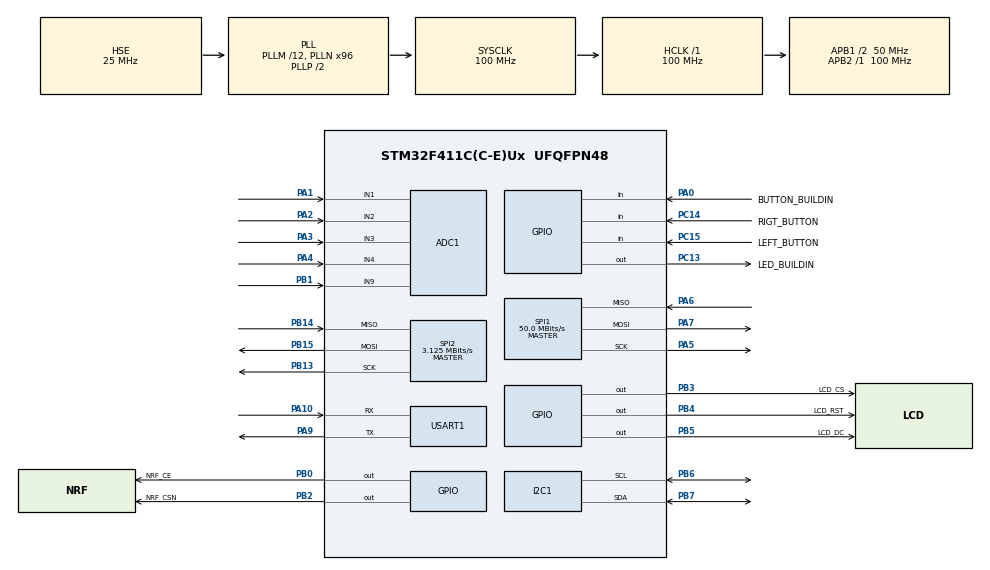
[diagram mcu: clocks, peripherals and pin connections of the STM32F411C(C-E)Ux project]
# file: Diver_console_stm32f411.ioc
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ADC1.Channel-0\#ChannelRegularConversion=ADC_CHANNEL_1
ADC1.Channel-1\#ChannelRegularConversion=ADC_CHANNEL_2
ADC1.Channel-2\#ChannelRegularConversion=ADC_CHANNEL_3
ADC1.Channel-4\#ChannelRegularConversion=ADC_CHANNEL_4
ADC1.Channel-5\#ChannelRegularConversion=ADC_CHANNEL_9
ADC1.NbrOfConversion=5
ADC1.NbrOfConversionFlag=1
ADC1.Rank-0\#ChannelRegularConversion=1
ADC1.Rank-1\#ChannelRegularConversion=2
ADC1.Rank-2\#ChannelRegularConversion=3
ADC1.Rank-4\#ChannelRegularConversion=4
ADC1.Rank-5\#ChannelRegularConversion=5
ADC1.SamplingTime-0\#ChannelRegularConversion=ADC_SAMPLETIME_15CYCLES
ADC1.SamplingTime-1\#ChannelRegularConversion=ADC_SAMPLETIME_15CYCLES
ADC1.SamplingTime-2\#ChannelRegularConversion=ADC_SAMPLETIME_15CYCLES
ADC1.SamplingTime-4\#ChannelRegularConversion=ADC_SAMPLETIME_15CYCLES
ADC1.SamplingTime-5\#ChannelRegularConversion=ADC_SAMPLETIME_15CYCLES
ADC1.master=1
Dma.ADC1.0.Direction=DMA_PERIPH_TO_MEMORY
Dma.ADC1.0.FIFOMode=DMA_FIFOMODE_DISABLE
Dma.ADC1.0.Instance=DMA2_Stream0
Dma.ADC1.0.MemDataAlignment=DMA_MDATAALIGN_HALFWORD
Dma.ADC1.0.MemInc=DMA_MINC_ENABLE
Dma.ADC1.0.Mode=DMA_NORMAL
Dma.ADC1.0.PeriphDataAlignment=DMA_PDATAALIGN_HALFWORD
Dma.ADC1.0.PeriphInc=DMA_PINC_DISABLE
Dma.ADC1.0.Priority=DMA_PRIORITY_LOW
Dma.Request0=ADC1
FREERTOS.Queues01=ackMessage,32,8,1,Dynamic,NULL,NULL
FREERTOS.Tasks01=main,24,1024,mainTask,Default,NULL,Dynamic,NULL,NULL;joystick,24,512,joystickTask,Default,NULL,Dynamic,NULL,NULL;radio,24,2848,radioTask,Default,NULL,Dynamic,NULL,NULL;display,24,2048,displayTask,Default,NULL,Dynamic,NULL,NULL
FREERTOS.configTOTAL_HEAP_SIZE=30000
Mcu.Family=STM32F4
Mcu.Name=STM32F411C(C-E)Ux
Mcu.Package=UFQFPN48
NVIC.ADC_IRQn=true\:5\:0\:false\:false\:true\:true\:true\:true\:true
NVIC.DMA2_Stream0_IRQn=true\:5\:0\:false\:false\:true\:true\:false\:true\:true
NVIC.PriorityGroup=NVIC_PRIORITYGROUP_4
NVIC.SPI1_IRQn=true\:5\:0\:false\:false\:true\:true\:true\:true\:true
NVIC.SPI2_IRQn=true\:5\:0\:false\:false\:true\:true\:true\:true\:true
NVIC.TIM1_UP_TIM10_IRQn=true\:0\:0\:false\:false\:true\:false\:false\:true\:true
NVIC.TimeBase=TIM1_UP_TIM10_IRQn
NVIC.TimeBaseIP=TIM1
PA0-WKUP.GPIO_Label=BUTTON_BUILDIN
PA0-WKUP.GPIO_PuPd=GPIO_PULLUP
PA0-WKUP.Signal=GPIO_Input
PA1.Signal=ADCx_IN1
PA10.Mode=Asynchronous
PA10.Signal=USART1_RX
PA13.Mode=Serial_Wire
PA13.Signal=SYS_JTMS-SWDIO
PA14.Mode=Serial_Wire
PA14.Signal=SYS_JTCK-SWCLK
PA2.Signal=ADCx_IN2
PA3.Signal=ADCx_IN3
PA4.Signal=ADCx_IN4
PA5.Mode=Full_Duplex_Master
PA5.Signal=SPI1_SCK
PA6.Mode=Full_Duplex_Master
PA6.Signal=SPI1_MISO
PA7.Mode=Full_Duplex_Master
PA7.Signal=SPI1_MOSI
PA9.Mode=Asynchronous
PA9.Signal=USART1_TX
PB0.GPIO_Label=NRF_CE
PB0.Signal=GPIO_Output
PB1.Signal=ADCx_IN9
PB13.Mode=Full_Duplex_Master
PB13.Signal=SPI2_SCK
PB14.Mode=Full_Duplex_Master
PB14.Signal=SPI2_MISO
PB15.Mode=Full_Duplex_Master
PB15.Signal=SPI2_MOSI
PB2.GPIO_Label=NRF_CSN
PB2.Signal=GPIO_Output
PB3.GPIO_Label=LCD_CS
PB3.Signal=GPIO_Output
PB4.GPIO_Label=LCD_RST
PB4.Signal=GPIO_Output
PB5.GPIO_Label=LCD_DC
PB5.Signal=GPIO_Output
PB6.Mode=I2C
PB6.Signal=I2C1_SCL
PB7.Mode=I2C
PB7.Signal=I2C1_SDA
PC13-ANTI_TAMP.GPIO_Label=LED_BUILDIN
PC13-ANTI_TAMP.Signal=GPIO_Output
PC14-OSC32_IN.GPIO_Label=RIGT_BUTTON
PC14-OSC32_IN.GPIO_PuPd=GPIO_PULLUP
PC14-OSC32_IN.Signal=GPIO_Input
PC15-OSC32_OUT.GPIO_Label=LEFT_BUTTON
PC15-OSC32_OUT.GPIO_PuPd=GPIO_PULLUP
PC15-OSC32_OUT.Signal=GPIO_Input
PH0\ -\ OSC_IN.Mode=HSE-External-Oscillator
PH0\ -\ OSC_IN.Signal=RCC_OSC_IN
PH1\ -\ OSC_OUT.Mode=HSE-External-Oscillator
PH1\ -\ OSC_OUT.Signal=RCC_OSC_OUT
ProjectManager.HeapSize=0x200
ProjectManager.StackSize=0x400
ProjectManager.TargetToolchain=STM32CubeIDE
RCC.48MHZClocksFreq_Value=50000000
RCC.AHBFreq_Value=100000000
RCC.APB1CLKDivider=RCC_HCLK_DIV2
RCC.APB1Freq_Value=50000000
RCC.APB1TimFreq_Value=100000000
RCC.APB2Freq_Value=100000000
RCC.APB2TimFreq_Value=100000000
RCC.CortexFreq_Value=100000000
RCC.HCLKFreq_Value=100000000
RCC.HSE_VALUE=25000000
RCC.HSI_VALUE=16000000
RCC.LSE_VALUE=32768
RCC.PLLM=12
RCC.PLLN=96
RCC.PLLSourceVirtual=RCC_PLLSOURCE_HSE
RCC.SYSCLKFreq_VALUE=100000000
RCC.SYSCLKSource=RCC_SYSCLKSOURCE_PLLCLK
RCC.VCOOutputFreq_Value=200000000
SH.ADCx_IN1.0=ADC1_IN1,IN1
SH.ADCx_IN2.0=ADC1_IN2,IN2
SH.ADCx_IN3.0=ADC1_IN3,IN3
SH.ADCx_IN4.0=ADC1_IN4,IN4
SH.ADCx_IN9.0=ADC1_IN9,IN9
SPI1.BaudRatePrescaler=SPI_BAUDRATEPRESCALER_2
SPI1.CalculateBaudRate=50.0 MBits/s
SPI1.Direction=SPI_DIRECTION_2LINES
SPI1.Mode=SPI_MODE_MASTER
SPI1.VirtualType=VM_MASTER
SPI2.BaudRatePrescaler=SPI_BAUDRATEPRESCALER_16
SPI2.CalculateBaudRate=3.125 MBits/s
SPI2.Direction=SPI_DIRECTION_2LINES
SPI2.Mode=SPI_MODE_MASTER
SPI2.VirtualType=VM_MASTER
USART1.VirtualMode=VM_ASYNC
VP_FREERTOS_VS_CMSIS_V2.Mode=CMSIS_V2
VP_SYS_VS_tim1.Mode=TIM1
board=custom

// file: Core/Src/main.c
/* USER CODE BEGIN Header */
/**
  ******************************************************************************
  * @file           : main.c
  * @brief          : Main program body
  ******************************************************************************
  * @attention
  *
  * <h2><center>&copy; Copyright (c) 2022 STMicroelectronics.
  * All rights reserved.</center></h2>
  *
  * This software component is licensed by ST under BSD 3-Clause license,
  * the "License"; You may not use this file except in compliance with the
  * License. You may obtain a copy of the License at:
  *                        opensource.org/licenses/BSD-3-Clause
  *
  ******************************************************************************
  */
/* USER CODE END Header */
#include "main.h"
#include "cmsis_os.h"

/* USER CODE BEGIN Includes */
#include "lv_impl.h"

#include <stdio.h>
#include <stdbool.h>
//#include "nrf24l01.h"
#include "nrf24.h"
#include "ili9341.h"
//#include "oled.h"
//#include "xpt2046.h"
//#include "img.h"
#include "add.h"
#include "radio_type.h"
/* USER CODE END Includes */

/* USER CODE BEGIN PTD */
typedef enum {
	ADC_CHANNEL_RIGHT_Y,
	ADC_CHANNEL_RIGHT_X,
	ADC_CHANNEL_LEFT_X,
	ADC_CHANNEL_LEFT_Y,
	ADC_CHANNEL_BATTERY,
	ADC_CHANNELS_NUM
} adc_channels;
/* USER CODE END PTD */

/* USER CODE BEGIN PD */
/*
#define ADC_CHANNELS_NUM                                         5
#define ADC_CHANNEL_LEFT_X                                       3
#define ADC_CHANNEL_RIGHT_X                                      0
#define ADC_CHANNEL_LEFT_Y                                       2
#define ADC_CHANNEL_RIGHT_Y                                      1
*/

/* USER CODE END PD */

ADC_HandleTypeDef hadc1;
DMA_HandleTypeDef hdma_adc1;

I2C_HandleTypeDef hi2c1;

SPI_HandleTypeDef hspi1;
SPI_HandleTypeDef hspi2;

UART_HandleTypeDef huart1;

/* Definitions for main */
osThreadId_t mainHandle;
const osThreadAttr_t main_attributes = {
  .name = "main",
  .stack_size = 1024 * 4,
  .priority = (osPriority_t) osPriorityNormal,
};
/* Definitions for joystick */
osThreadId_t joystickHandle;
const osThreadAttr_t joystick_attributes = {
  .name = "joystick",
  .stack_size = 512 * 4,
  .priority = (osPriority_t) osPriorityNormal,
};
/* Definitions for radio */
osThreadId_t radioHandle;
const osThreadAttr_t radio_attributes = {
  .name = "radio",
  .stack_size = 2848 * 4,
  .priority = (osPriority_t) osPriorityNormal,
};
/* Definitions for display */
osThreadId_t displayHandle;
const osThreadAttr_t display_attributes = {
  .name = "display",
  .stack_size = 2048 * 4,
  .priority = (osPriority_t) osPriorityNormal,
};
/* Definitions for ackMessage */
osMessageQueueId_t ackMessageHandle;
const osMessageQueueAttr_t ackMessage_attributes = {
  .name = "ackMessage"
};

void SystemClock_Config(void);
static void MX_GPIO_Init(void);
static void MX_DMA_Init(void);
static void MX_ADC1_Init(void);
static void MX_I2C1_Init(void);
static void MX_SPI1_Init(void);
static void MX_USART1_UART_Init(void);
static void MX_SPI2_Init(void);
void mainTask(void *argument);
void joystickTask(void *argument);
void radioTask(void *argument);
void displayTask(void *argument);

/* USER CODE BEGIN 0 */
uint64_t TxpipeAddrs = 0x11223344AA;
//char myTxData[32] = "Hello World!\r\n";
char AckPayload[32];
uint8_t myTxData[]="Hello World!\r\n";
uint8_t welcome[]="Hello from console STM32F411\r\n";
uint32_t global_cnt = 0;

uint16_t adcData[ADC_CHANNELS_NUM];
uint16_t adcVoltagemV[ADC_CHANNELS_NUM];
float adcVoltage[ADC_CHANNELS_NUM];
char lcd_joystick_str[32];

joystick_t joystick;

uint8_t flag_press = 0;

uint32_t counter = 0;
uint8_t test_cnt = 0;
lv_obj_t * arc;

const uint64_t pipe1 = 0xE8E8F0F0E2LL;
const uint64_t pipe5 = 0xE8E8F0F0E7LL;

uint8_t nrf_data[32] = {0};
uint8_t nrf_ack[32] = {0};

uint8_t left_motor;
uint8_t right_motor;

pump_states_t pump_command;

camera_states_t camera_command;

int16_t x_offset;
int16_t y_offset;

//SemaphoreHandle_t common_spi_mutex;
/* USER CODE END 0 */

int main(void)
{

  /* MCU Configuration--------------------------------------------------------*/

  /* Reset of all peripherals, Initializes the Flash interface and the Systick. */
  HAL_Init();

  /* Configure the system clock */
  SystemClock_Config();

  /* Initialize all configured peripherals */
  MX_GPIO_Init();
  MX_DMA_Init();
  MX_ADC1_Init();
  MX_I2C1_Init();
  MX_SPI1_Init();
  MX_USART1_UART_Init();
  MX_SPI2_Init();
  /* USER CODE BEGIN 2 */
  __HAL_SPI_ENABLE(DISP_SPI_PTR);
  HAL_ADC_Start_DMA(&hadc1, (uint32_t*)adcData, ADC_CHANNELS_NUM);
/*
  NRF24_begin(GPIOB, GPIO_PIN_1, GPIO_PIN_0, hspi1);
  nrf24_DebugUART_Init(huart1);

//  ssd1306_Init(&hi2c1);

  NRF24_stopListening();
  NRF24_openWritingPipe(TxpipeAddrs);
  NRF24_setAutoAck(true);
  NRF24_setChannel(52);
  NRF24_setPayloadSize(32);

  NRF24_enableDynamicPayloads();
  NRF24_enableAckPayload();

  printRadioSettings();

  HAL_UART_Transmit_IT(&huart1, &welcome, strlen(welcome));
*/

  	nrf_init(&hspi2, RF24_PA_MAX, RF24_250KBPS, 120, &huart1);

    lv_init();
    lv_disp_init();
    lv_menu();

/*
    ILI9341_Init();

    ILI9341_Set_Rotation(SCREEN_HORIZONTAL_2);

    ILI9341_Fill_Screen(MYFON);

    ILI9341_WriteString(10, 10, "Hello World", Font_7x10, WHITE, MYFON);
//    ILI9341_WriteString(20, 30, "Hello World", Font_11x18, WHITE, MYFON);
//    ILI9341_WriteString(30, 60, "Hello World", Font_16x26, BLUE, DARKGREEN);

    char txt_buf[] = "Hello Lviv";
    ILI9341_WriteString(40, 40, txt_buf, Font_16x26, YELLOW, MYFON);

    uint16_t size_img = sizeof(img_logo);
    ILI9341_Draw_Image(img_logo, 150, 100, 100, 100, size_img);
    ILI9341_WriteString(30, 120, "Odesa mama", Font_11x18, WHITE, MYFON);
*/

  /* USER CODE END 2 */

  /* Init scheduler */
  osKernelInitialize();

  /* Create the queue(s) */
  /* creation of ackMessage */
  ackMessageHandle = osMessageQueueNew (32, 8, &ackMessage_attributes);

  /* Create the thread(s) */
  /* creation of main */
  mainHandle = osThreadNew(mainTask, NULL, &main_attributes);

  /* creation of joystick */
  joystickHandle = osThreadNew(joystickTask, NULL, &joystick_attributes);

  /* creation of radio */
  radioHandle = osThreadNew(radioTask, NULL, &radio_attributes);

  /* creation of display */
  displayHandle = osThreadNew(displayTask, NULL, &display_attributes);

  /* Start scheduler */
  osKernelStart();

  /* We should never get here as control is now taken by the scheduler */
  /* Infinite loop */
  while (1)
  {

  }
}

void SystemClock_Config(void)
{
  RCC_OscInitTypeDef RCC_OscInitStruct = {0};
  RCC_ClkInitTypeDef RCC_ClkInitStruct = {0};

  /** Configure the main internal regulator output voltage
  */
  __HAL_RCC_PWR_CLK_ENABLE();
  __HAL_PWR_VOLTAGESCALING_CONFIG(PWR_REGULATOR_VOLTAGE_SCALE1);
  /** Initializes the RCC Oscillators according to the specified parameters
  * in the RCC_OscInitTypeDef structure.
  */
  RCC_OscInitStruct.OscillatorType = RCC_OSCILLATORTYPE_HSE;
  RCC_OscInitStruct.HSEState = RCC_HSE_ON;
  RCC_OscInitStruct.PLL.PLLState = RCC_PLL_ON;
  RCC_OscInitStruct.PLL.PLLSource = RCC_PLLSOURCE_HSE;
  RCC_OscInitStruct.PLL.PLLM = 12;
  RCC_OscInitStruct.PLL.PLLN = 96;
  RCC_OscInitStruct.PLL.PLLP = RCC_PLLP_DIV2;
  RCC_OscInitStruct.PLL.PLLQ = 4;
  if (HAL_RCC_OscConfig(&RCC_OscInitStruct) != HAL_OK)
  {
    Error_Handler();
  }
  /** Initializes the CPU, AHB and APB buses clocks
  */
  RCC_ClkInitStruct.ClockType = RCC_CLOCKTYPE_HCLK|RCC_CLOCKTYPE_SYSCLK
                              |RCC_CLOCKTYPE_PCLK1|RCC_CLOCKTYPE_PCLK2;
  RCC_ClkInitStruct.SYSCLKSource = RCC_SYSCLKSOURCE_PLLCLK;
  RCC_ClkInitStruct.AHBCLKDivider = RCC_SYSCLK_DIV1;
  RCC_ClkInitStruct.APB1CLKDivider = RCC_HCLK_DIV2;
  RCC_ClkInitStruct.APB2CLKDivider = RCC_HCLK_DIV1;

  if (HAL_RCC_ClockConfig(&RCC_ClkInitStruct, FLASH_LATENCY_3) != HAL_OK)
  {
    Error_Handler();
  }
}

static void MX_ADC1_Init(void)
{

  ADC_ChannelConfTypeDef sConfig = {0};

  /** Configure the global features of the ADC (Clock, Resolution, Data Alignment and number of conversion)
  */
  hadc1.Instance = ADC1;
  hadc1.Init.ClockPrescaler = ADC_CLOCK_SYNC_PCLK_DIV4;
  hadc1.Init.Resolution = ADC_RESOLUTION_12B;
  hadc1.Init.ScanConvMode = ENABLE;
  hadc1.Init.ContinuousConvMode = DISABLE;
  hadc1.Init.DiscontinuousConvMode = DISABLE;
  hadc1.Init.ExternalTrigConvEdge = ADC_EXTERNALTRIGCONVEDGE_NONE;
  hadc1.Init.ExternalTrigConv = ADC_SOFTWARE_START;
  hadc1.Init.DataAlign = ADC_DATAALIGN_RIGHT;
  hadc1.Init.NbrOfConversion = 5;
  hadc1.Init.DMAContinuousRequests = DISABLE;
  hadc1.Init.EOCSelection = ADC_EOC_SINGLE_CONV;
  if (HAL_ADC_Init(&hadc1) != HAL_OK)
  {
    Error_Handler();
  }
  /** Configure for the selected ADC regular channel its corresponding rank in the sequencer and its sample time.
  */
  sConfig.Channel = ADC_CHANNEL_1;
  sConfig.Rank = 1;
  sConfig.SamplingTime = ADC_SAMPLETIME_15CYCLES;
  if (HAL_ADC_ConfigChannel(&hadc1, &sConfig) != HAL_OK)
  {
    Error_Handler();
  }
  /** Configure for the selected ADC regular channel its corresponding rank in the sequencer and its sample time.
  */
  sConfig.Channel = ADC_CHANNEL_2;
  sConfig.Rank = 2;
  if (HAL_ADC_ConfigChannel(&hadc1, &sConfig) != HAL_OK)
  {
    Error_Handler();
  }
  /** Configure for the selected ADC regular channel its corresponding rank in the sequencer and its sample time.
  */
  sConfig.Channel = ADC_CHANNEL_3;
  sConfig.Rank = 3;
  if (HAL_ADC_ConfigChannel(&hadc1, &sConfig) != HAL_OK)
  {
    Error_Handler();
  }
  /** Configure for the selected ADC regular channel its corresponding rank in the sequencer and its sample time.
  */
  sConfig.Channel = ADC_CHANNEL_4;
  sConfig.Rank = 4;
  if (HAL_ADC_ConfigChannel(&hadc1, &sConfig) != HAL_OK)
  {
    Error_Handler();
  }
  /** Configure for the selected ADC regular channel its corresponding rank in the sequencer and its sample time.
  */
  sConfig.Channel = ADC_CHANNEL_9;
  sConfig.Rank = 5;
  if (HAL_ADC_ConfigChannel(&hadc1, &sConfig) != HAL_OK)
  {
    Error_Handler();
  }

}

static void MX_I2C1_Init(void)
{

  hi2c1.Instance = I2C1;
  hi2c1.Init.ClockSpeed = 100000;
  hi2c1.Init.DutyCycle = I2C_DUTYCYCLE_2;
  hi2c1.Init.OwnAddress1 = 0;
  hi2c1.Init.AddressingMode = I2C_ADDRESSINGMODE_7BIT;
  hi2c1.Init.DualAddressMode = I2C_DUALADDRESS_DISABLE;
  hi2c1.Init.OwnAddress2 = 0;
  hi2c1.Init.GeneralCallMode = I2C_GENERALCALL_DISABLE;
  hi2c1.Init.NoStretchMode = I2C_NOSTRETCH_DISABLE;
  if (HAL_I2C_Init(&hi2c1) != HAL_OK)
  {
    Error_Handler();
  }

}

static void MX_SPI1_Init(void)
{

  /* SPI1 parameter configuration*/
  hspi1.Instance = SPI1;
  hspi1.Init.Mode = SPI_MODE_MASTER;
  hspi1.Init.Direction = SPI_DIRECTION_2LINES;
  hspi1.Init.DataSize = SPI_DATASIZE_8BIT;
  hspi1.Init.CLKPolarity = SPI_POLARITY_LOW;
  hspi1.Init.CLKPhase = SPI_PHASE_1EDGE;
  hspi1.Init.NSS = SPI_NSS_SOFT;
  hspi1.Init.BaudRatePrescaler = SPI_BAUDRATEPRESCALER_2;
  hspi1.Init.FirstBit = SPI_FIRSTBIT_MSB;
  hspi1.Init.TIMode = SPI_TIMODE_DISABLE;
  hspi1.Init.CRCCalculation = SPI_CRCCALCULATION_DISABLE;
  hspi1.Init.CRCPolynomial = 10;
  if (HAL_SPI_Init(&hspi1) != HAL_OK)
  {
    Error_Handler();
  }

}

static void MX_SPI2_Init(void)
{

  /* SPI2 parameter configuration*/
  hspi2.Instance = SPI2;
  hspi2.Init.Mode = SPI_MODE_MASTER;
  hspi2.Init.Direction = SPI_DIRECTION_2LINES;
  hspi2.Init.DataSize = SPI_DATASIZE_8BIT;
  hspi2.Init.CLKPolarity = SPI_POLARITY_LOW;
  hspi2.Init.CLKPhase = SPI_PHASE_1EDGE;
  hspi2.Init.NSS = SPI_NSS_SOFT;
  hspi2.Init.BaudRatePrescaler = SPI_BAUDRATEPRESCALER_16;
  hspi2.Init.FirstBit = SPI_FIRSTBIT_MSB;
  hspi2.Init.TIMode = SPI_TIMODE_DISABLE;
  hspi2.Init.CRCCalculation = SPI_CRCCALCULATION_DISABLE;
  hspi2.Init.CRCPolynomial = 10;
  if (HAL_SPI_Init(&hspi2) != HAL_OK)
  {
    Error_Handler();
  }

}

static void MX_USART1_UART_Init(void)
{

  huart1.Instance = USART1;
  huart1.Init.BaudRate = 115200;
  huart1.Init.WordLength = UART_WORDLENGTH_8B;
  huart1.Init.StopBits = UART_STOPBITS_1;
  huart1.Init.Parity = UART_PARITY_NONE;
  huart1.Init.Mode = UART_MODE_TX_RX;
  huart1.Init.HwFlowCtl = UART_HWCONTROL_NONE;
  huart1.Init.OverSampling = UART_OVERSAMPLING_16;
  if (HAL_UART_Init(&huart1) != HAL_OK)
  {
    Error_Handler();
  }

}

static void MX_DMA_Init(void)
{

  /* DMA controller clock enable */
  __HAL_RCC_DMA2_CLK_ENABLE();

  /* DMA interrupt init */
  /* DMA2_Stream0_IRQn interrupt configuration */
  HAL_NVIC_SetPriority(DMA2_Stream0_IRQn, 5, 0);
  HAL_NVIC_EnableIRQ(DMA2_Stream0_IRQn);

}

static void MX_GPIO_Init(void)
{
  GPIO_InitTypeDef GPIO_InitStruct = {0};

  /* GPIO Ports Clock Enable */
  __HAL_RCC_GPIOC_CLK_ENABLE();
  __HAL_RCC_GPIOH_CLK_ENABLE();
  __HAL_RCC_GPIOA_CLK_ENABLE();
  __HAL_RCC_GPIOB_CLK_ENABLE();

  /*Configure GPIO pin Output Level */
  HAL_GPIO_WritePin(LED_BUILDIN_GPIO_Port, LED_BUILDIN_Pin, GPIO_PIN_RESET);

  /*Configure GPIO pin Output Level */
  HAL_GPIO_WritePin(GPIOB, NRF_CE_Pin|NRF_CSN_Pin|LCD_CS_Pin|LCD_RST_Pin
                          |LCD_DC_Pin, GPIO_PIN_RESET);

  /*Configure GPIO pin : LED_BUILDIN_Pin */
  GPIO_InitStruct.Pin = LED_BUILDIN_Pin;
  GPIO_InitStruct.Mode = GPIO_MODE_OUTPUT_PP;
  GPIO_InitStruct.Pull = GPIO_NOPULL;
  GPIO_InitStruct.Speed = GPIO_SPEED_FREQ_LOW;
  HAL_GPIO_Init(LED_BUILDIN_GPIO_Port, &GPIO_InitStruct);

  /*Configure GPIO pins : RIGT_BUTTON_Pin LEFT_BUTTON_Pin */
  GPIO_InitStruct.Pin = RIGT_BUTTON_Pin|LEFT_BUTTON_Pin;
  GPIO_InitStruct.Mode = GPIO_MODE_INPUT;
  GPIO_InitStruct.Pull = GPIO_PULLUP;
  HAL_GPIO_Init(GPIOC, &GPIO_InitStruct);

  /*Configure GPIO pin : BUTTON_BUILDIN_Pin */
  GPIO_InitStruct.Pin = BUTTON_BUILDIN_Pin;
  GPIO_InitStruct.Mode = GPIO_MODE_INPUT;
  GPIO_InitStruct.Pull = GPIO_PULLUP;
  HAL_GPIO_Init(BUTTON_BUILDIN_GPIO_Port, &GPIO_InitStruct);

  /*Configure GPIO pins : NRF_CE_Pin NRF_CSN_Pin LCD_CS_Pin LCD_RST_Pin
                           LCD_DC_Pin */
  GPIO_InitStruct.Pin = NRF_CE_Pin|NRF_CSN_Pin|LCD_CS_Pin|LCD_RST_Pin
                          |LCD_DC_Pin;
  GPIO_InitStruct.Mode = GPIO_MODE_OUTPUT_PP;
  GPIO_InitStruct.Pull = GPIO_NOPULL;
  GPIO_InitStruct.Speed = GPIO_SPEED_FREQ_LOW;
  HAL_GPIO_Init(GPIOB, &GPIO_InitStruct);

}

/* USER CODE BEGIN 4 */
void HAL_ADC_ConvCpltCallback(ADC_HandleTypeDef* hadc)
{
  if(hadc->Instance == ADC1)
  {
/*
    adcVoltage[0] = adcData[1] * 3.3 / 4095;
    adcVoltage[1] = adcData[2] * 3.3 / 4095;
    adcVoltage[2] = adcData[3] * 3.3 / 4095;
    adcVoltage[3] = adcData[4] * 3.3 / 4095;
    adcVoltage[4] = adcData[9] * 3.3 / 4095;
    */
//    adcVoltagemV[0] = adcData[1] * 3300 / 4095;
//    adcVoltagemV[1] = adcData[2] * 3300 / 4095;
//    adcVoltagemV[2] = adcData[3] * 3300 / 4095;
//    adcVoltagemV[3] = adcData[4] * 3300 / 4095;
    adcVoltagemV[4] = adcData[4] * 3300 / 4095 * 25 / 15;

    HAL_ADC_Stop_DMA(&hadc1);
  }

}

/* USER CODE END 4 */

void mainTask(void *argument)
{
  /* USER CODE BEGIN 5 */
  /* Infinite loop */
  for(;;)
  {
	lv_timer_handler();
    osDelay(1);
  }
  /* USER CODE END 5 */
}

void joystickTask(void *argument)
{
  /* USER CODE BEGIN joystickTask */
	uint16_t forward;
	uint16_t left_slowdown;
	uint16_t right_slowdown;
	static bool turn_flag = false;
  /* Infinite loop */
  for(;;)
  {
	HAL_ADC_Start_DMA(&hadc1, (uint32_t*)adcData, ADC_CHANNELS_NUM);

	joystick.leftX = adcData[ADC_CHANNEL_LEFT_X];
	joystick.leftY = adcData[ADC_CHANNEL_LEFT_Y];
	joystick.rightX = adcData[ADC_CHANNEL_RIGHT_X];
	joystick.rightY = adcData[ADC_CHANNEL_RIGHT_Y];

	forward = map(joystick.leftY, 2100, 4095, 0, 255);

	if (joystick.leftX < 1990){
	  left_slowdown = map(joystick.leftX, 1990, 0, 255, 0);
	} else if (joystick.leftX > 2105){
	  right_slowdown = map(joystick.leftX, 2105, 4095, 0, 255);
	} else {
	  right_slowdown = 0;
	  left_slowdown = 0;
	}

	if (forward > left_slowdown / 4){
	  left_motor = forward - left_slowdown / 4;
	} else if (forward == 0) {
      right_motor = left_slowdown / 4;
	} else {
	  left_motor = forward;
	}

	if (forward > right_slowdown / 4){
	  right_motor = forward - right_slowdown / 4;
	} else if (forward == 0) {
	  left_motor = right_slowdown / 4;
	} else {
	  right_motor = forward;
	}

	nrf_data[LEFT_MOTOR] = left_motor;
	nrf_data[RIGHT_MOTOR] = right_motor;

	if (adcData[ADC_CHANNEL_RIGHT_X] > 2500){
		pump_command = PUMP_PUSH;
	} else if (adcData[ADC_CHANNEL_RIGHT_X] < 1500){
		pump_command = PUMP_PULL;
	} else {
		pump_command = PUMP_OFF;
	}

	if (HAL_GPIO_ReadPin(RIGT_BUTTON_GPIO_Port, RIGT_BUTTON_Pin) == GPIO_PIN_RESET){
		if (turn_flag == false){
			if (camera_command == CAMERA_ON){
				camera_command = CAMERA_OFF;
			} else {
				camera_command = CAMERA_ON;
			}
			turn_flag = true;
		}
	} else {
		if (turn_flag == true){
			turn_flag = false;
		}
	}

	if (HAL_GPIO_ReadPin(LEFT_BUTTON_GPIO_Port, LEFT_BUTTON_Pin) == GPIO_PIN_RESET){

	}

/*
	if (HAL_GPIO_ReadPin(GPIOA, GPIO_PIN_0) == GPIO_PIN_RESET) {
		 HAL_GPIO_WritePin(GPIOC, GPIO_PIN_13, GPIO_PIN_RESET);
		 sprintf(myTxData, "Pressed %d\r\n", counter);
	} else {
		HAL_GPIO_WritePin(GPIOC, GPIO_PIN_13, GPIO_PIN_SET);
		sprintf(myTxData, "Hello world %d\r\n", counter);
	}
*/
	osDelay(50);
  }
  /* USER CODE END joystickTask */
}

void radioTask(void *argument)
{
  /* USER CODE BEGIN radioTask */
	char str[64];
	uint8_t a = 1;

  /* Infinite loop */
  for(;;)
  {
	  //clear array
	  for (uint8_t i = 0; i < 32; i++){
		  nrf_data[i] = 0;
	  }

	  nrf_data[TEST_BYTE] = 0x55;

	  nrf_data[LEFT_MOTOR] = left_motor;
	  nrf_data[RIGHT_MOTOR] = right_motor;
	  nrf_data[DEPHT_OFFSET] = pump_command;
	  nrf_data[CAMERA_COMMAND] = camera_command;
	  nrf_data[LEFT_BUT] = 0;

	  nrf_openWritingPipe(pipe1);

	  if(nrf_write(&nrf_data, 32/*strlen((const char*)nrf_data)*/))
	 {
		if(nrf_isAckPayloadAvailable())
		{
			nrf_read(&nrf_ack, 32);

			HAL_GPIO_TogglePin(GPIOC, GPIO_PIN_13);
			snprintf(str, 64, "Ack: %d\n", nrf_ack);

			HAL_UART_Transmit(&huart1, (uint8_t*)str, strlen(str), 1000);

			//osMessageQueuePut(ackMessageHandle, &nrf_ack, 0, 200);
		}
	  }
	  else HAL_UART_Transmit(&huart1, (uint8_t*)"Not write 1\n", strlen("Not write 1\n"), 1000);
/*
	  nrf_openWritingPipe(pipe5);

	  for (uint8_t i = 0; i<32; i++){
		 nrf_data[i] = i+a;
		 a+=4;
		 if (a > 1000) a = 1;
	  }

	  if(nrf_write(&nrf_data, strlen((const char*)nrf_data)))
	  {
		if(nrf_isAckPayloadAvailable())
		{
			nrf_read(&nrf_ack, sizeof(nrf_ack));
			HAL_GPIO_TogglePin(GPIOC, GPIO_PIN_13);
			snprintf(str, 64, "Ack: %u\n", nrf_ack);
			HAL_UART_Transmit(&huart1, (uint8_t*)str, strlen(str), 1000);
		}
	  }
	  else HAL_UART_Transmit(&huart1, (uint8_t*)"Not write 5\n", strlen("Not write 5\n"), 1000);
*/
/*
	if(NRF24_write(myTxData, 32))
	{
	  NRF24_read(AckPayload, 32);
	  HAL_UART_Transmit(&huart1, (uint8_t *)"Transmitted Successfully\r\n", strlen("Transmitted Successfully\r\n"),100);
	  HAL_GPIO_TogglePin(GPIOC, GPIO_PIN_13);
	  char myDataack[80];
	  sprintf(myDataack, "AckPayload:  %s \r\n", AckPayload);
	  HAL_UART_Transmit(&huart1, (uint8_t *)myDataack, strlen(myDataack),100);

	  osMessageQueuePut(ackMessageHandle, &AckPayload, 0, 200);
	}
*/
    osDelay(1000);
  }
  /* USER CODE END radioTask */
}

void displayTask(void *argument)
{
  /* USER CODE BEGIN displayTask */
  uint8_t ackMessage[32] = {0};
//  char test_str[32] = {0};
  char xy_label_str[64] = {0};
  char send_data_label_str[64] = {0};
  char radio_str[64] = {0};
  char battery_str[20] = {0};
  //pressure p;
  uint16_t temp_insade;
  uint16_t battery_voltage;
  uint32_t pressure_inside;
  /* Infinite loop */
  for(;;)
  {
	//osMessageQueueGet(ackMessageHandle, &ackMessage, NULL, 200);

	set_bar(lx_bar, map(joystick.leftX, 0, 4025, 0, 100));
	set_bar(ly_bar, map(joystick.leftY, 0, 4025, 0, 100));
	set_bar(rx_bar, map(left_motor, 0, 255, 0, 100));
	set_bar(ry_bar, map(right_motor, 0, 255, 0, 100));

	sprintf(battery_str, "%dmV", adcVoltagemV[ADC_CHANNEL_BATTERY]);
	lv_label_set_text(battery_label, battery_str);

	sprintf(xy_label_str, "X: %d Y: %d | X: %d Y: %d", joystick.leftX, joystick.leftY, joystick.rightX, joystick.rightY);
	lv_label_set_text(l_xy_label, xy_label_str);

	pressure_inside = (uint32_t)nrf_ack[PRESSURE_INSIDE_0] <<  0 | (uint32_t)nrf_ack[PRESSURE_INSIDE_1] <<  8 | (uint32_t)nrf_ack[PRESSURE_INSIDE_2] << 16 | (uint32_t)nrf_ack[PRESSURE_INSIDE_3] << 24;
	temp_insade = nrf_ack[TEMP_INSIDE_MSB] | nrf_ack[TEMP_INSIDE_LSB] << 8;
	battery_voltage = nrf_ack[BATTERY_VOLTAGE_MSB] | nrf_ack[BATTERY_VOLTAGE_LSB] << 8;
	sprintf(radio_str, "T: %d, P: %d, d: %d mm, %d mV", temp_insade, pressure_inside, nrf_ack[PISTON_OFFSET], battery_voltage);
	lv_label_set_text(radio_label, radio_str);

	sprintf(send_data_label_str, "LM: %d, RM: %d, PC: %d CC: %d", left_motor, right_motor, pump_command, camera_command);
	lv_label_set_text(send_data_label, send_data_label_str);

	x_offset = (int16_t)nrf_ack[X_AXIS_MSB] <<  0 | (int16_t)nrf_ack[X_AXIS_LSB] << 8;
	y_offset = (int16_t)nrf_ack[Y_AXIS_MSB] <<  0 | (int16_t)nrf_ack[Y_AXIS_LSB] << 8;
	sprintf(send_data_label_str, "X: %d, Y: %d", x_offset, y_offset);
	lv_label_set_text(xy_label, send_data_label_str);

//	ssd1306_SetCursor(0, 0);
//	sprintf(lcd_joystick_str, "%d %d       ", joystick.leftX, joystick.leftY);
//	ssd1306_WriteString(&lcd_joystick_str, Font_11x18, White);
//	ssd1306_SetCursor(0, 25);
//	sprintf(lcd_joystick_str, "%d %d       ", joystick.rightX, joystick.rightY);
//	ssd1306_WriteString(&lcd_joystick_str, Font_11x18, White);
//	ssd1306_UpdateScreen(&hi2c1);

    osDelay(250);
  }
  /* USER CODE END displayTask */
}

 /**
  * @brief  Period elapsed callback in non blocking mode
  * @note   This function is called  when TIM1 interrupt took place, inside
  * HAL_TIM_IRQHandler(). It makes a direct call to HAL_IncTick() to increment
  * a global variable "uwTick" used as application time base.
  * @param  htim : TIM handle
  * @retval None
  */
void HAL_TIM_PeriodElapsedCallback(TIM_HandleTypeDef *htim)
{
  if (htim->Instance == TIM1) {
    HAL_IncTick();
  }
}

void Error_Handler(void)
{
  __disable_irq();
  while (1)
  {
  }
}

/************************ (C) COPYRIGHT STMicroelectronics *****END OF FILE****/
